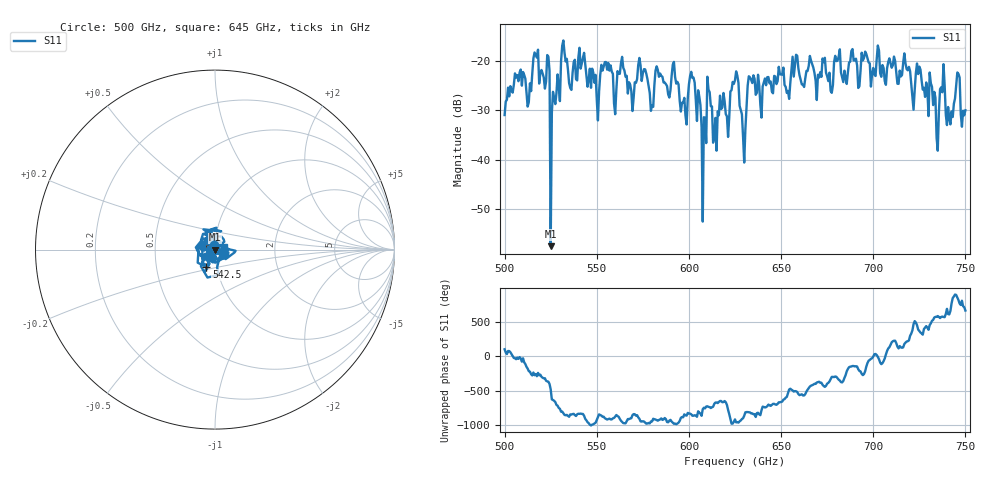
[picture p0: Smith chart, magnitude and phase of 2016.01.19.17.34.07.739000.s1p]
!Created with skrf (http://scikit-rf.org).
# GHz S RI R 50.0
!freq ReS11 ImS11
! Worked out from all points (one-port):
!   401 points, 500 GHz to 750 GHz, reference 50 ohm
!   lowest |S11| = -57.4 dB at 525 GHz (marker M1), VSWR 1.00, Z = 49.9 - j0.118 ohm
!   |S11| at or under -10 dB: start of sweep to end of sweep
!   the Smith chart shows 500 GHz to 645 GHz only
!   S11 on the Smith chart (normalised r, x): 500 GHz: 0.99, +0.05; 542.5 GHz: 0.89, -0.18; 645 GHz: 1.10, +0.03
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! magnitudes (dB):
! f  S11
! 500 GHz  -30.9
! 507.5 GHz  -24.1
! 513.1 GHz  -28.3
! 516.9 GHz  -18.8
! 523.1 GHz  -18.8
! 525 GHz  -57.4
! 531.2 GHz  -16.9
! 542.5 GHz  -19.3
! 550 GHz  -27.8
! 562.5 GHz  -22.6
! 593.8 GHz  -24.2
! 597.5 GHz  -27.5
! 601.9 GHz  -23.4
! 608.1 GHz  -31.4
! 611.2 GHz  -26.3
! 614.4 GHz  -31.5
! 625 GHz  -23.9
! 629.4 GHz  -35.3
! 633.8 GHz  -23.8
! 645 GHz  -26.2
! 656.2 GHz  -19.1
! 687.5 GHz  -20.2
! 718.8 GHz  -21.9
! 734.4 GHz  -35.5
! 737.5 GHz  -26.3
! 740.6 GHz  -29.3
! 745.6 GHz  -22.3
! 750 GHz  -30.0
